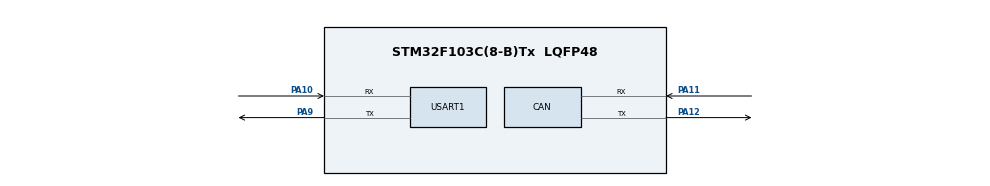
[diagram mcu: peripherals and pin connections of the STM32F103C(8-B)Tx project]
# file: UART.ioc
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CAN.CalculateTimeBit=6000
CAN.CalculateTimeQuantum=2000.0
Mcu.Family=STM32F1
Mcu.Name=STM32F103C(8-B)Tx
Mcu.Package=LQFP48
NVIC.PriorityGroup=NVIC_PRIORITYGROUP_4
PA10.Mode=Asynchronous
PA10.Signal=USART1_RX
PA11.Mode=Master
PA11.Signal=CAN_RX
PA12.Mode=Master
PA12.Signal=CAN_TX
PA9.Mode=Asynchronous
PA9.Signal=USART1_TX
ProjectManager.HeapSize=0x200
ProjectManager.StackSize=0x400
ProjectManager.TargetToolchain=MDK-ARM V5
RCC.APB1Freq_Value=8000000
RCC.APB2Freq_Value=8000000
USART1.VirtualMode=VM_ASYNC
VP_SYS_VS_ND.Mode=No_Debug
board=custom

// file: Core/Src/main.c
/* USER CODE BEGIN Header */
/**
  ******************************************************************************
  * @file           : main.c
  * @brief          : Main program body
  ******************************************************************************
  * @attention
  *
  * <h2><center>&copy; Copyright (c) 2026 STMicroelectronics.
  * All rights reserved.</center></h2>
  *
  * This software component is licensed by ST under BSD 3-Clause license,
  * the "License"; You may not use this file except in compliance with the
  * License. You may obtain a copy of the License at:
  *                        opensource.org/licenses/BSD-3-Clause
  *
  ******************************************************************************
  */
/* USER CODE END Header */
#include "main.h"
#include "can.h"
#include "usart.h"
#include "gpio.h"

/* USER CODE BEGIN Includes */
#include <string.h>
#include "flame.h"
#include "iwdg.h"
/* USER CODE END Includes */

/* USER CODE BEGIN PV */
static uint8_t g_uart1_ready = 0;

/* USER CODE END PV */

void SystemClock_Config(void);
/* USER CODE BEGIN PFP */
static void Boot_Log(const char *message);

/* USER CODE END PFP */

/* USER CODE BEGIN 0 */
static void Boot_Log(const char *message)
{
  if (g_uart1_ready == 0U || message == NULL)
  {
    return;
  }

  HAL_UART_Transmit(&huart1, (uint8_t *)message, (uint16_t)strlen(message), 100);
}

/* USER CODE END 0 */

int main(void)
{

  /* MCU Configuration--------------------------------------------------------*/

  /* Reset of all peripherals, Initializes the Flash interface and the Systick. */
  HAL_Init();

  /* Configure the system clock */
  SystemClock_Config();

  /* Initialize all configured peripherals */
  MX_GPIO_Init();
  MX_USART1_UART_Init();
  g_uart1_ready = 1U;
  Boot_Log("BOOT: HAL init done\r\n");
  Boot_Log("BOOT: system clock configured\r\n");
  Boot_Log("BOOT: GPIO ready\r\n");
  Boot_Log("BOOT: USART1 ready\r\n");
  MX_CAN_Init();
  /* USER CODE BEGIN 2 */
  if (CAN_Link_Init() != HAL_OK)
  {
    Boot_Log("BOOT: CAN link init failed\r\n");
    Error_Handler();
  }
  Boot_Log("BOOT: CAN link init ok\r\n");

  if (MX_IWDG_Init() != HAL_OK)
  {
    Boot_Log("BOOT: IWDG init failed\r\n");
    Error_Handler();
  }
  Boot_Log("BOOT: IWDG init ok (8.0s timeout)\r\n");

  /* USER CODE END 2 */

  /* Infinite loop */
  /* USER CODE BEGIN WHILE */
  while (1)
  {
    CAN_Link_Process();
    HAL_IWDG_Refresh(&hiwdg);
    HAL_Delay(10);
    /* USER CODE END WHILE */

  }
}

void SystemClock_Config(void)
{
  RCC_OscInitTypeDef RCC_OscInitStruct = {0};
  RCC_ClkInitTypeDef RCC_ClkInitStruct = {0};

  /** Initializes the RCC Oscillators according to the specified parameters
  * in the RCC_OscInitTypeDef structure.
  */
  RCC_OscInitStruct.OscillatorType = RCC_OSCILLATORTYPE_HSI;
  RCC_OscInitStruct.HSIState = RCC_HSI_ON;
  RCC_OscInitStruct.HSICalibrationValue = RCC_HSICALIBRATION_DEFAULT;
  RCC_OscInitStruct.PLL.PLLState = RCC_PLL_NONE;
  if (HAL_RCC_OscConfig(&RCC_OscInitStruct) != HAL_OK)
  {
    Error_Handler();
  }
  /** Initializes the CPU, AHB and APB buses clocks
  */
  RCC_ClkInitStruct.ClockType = RCC_CLOCKTYPE_HCLK|RCC_CLOCKTYPE_SYSCLK
                              |RCC_CLOCKTYPE_PCLK1|RCC_CLOCKTYPE_PCLK2;
  RCC_ClkInitStruct.SYSCLKSource = RCC_SYSCLKSOURCE_HSI;
  RCC_ClkInitStruct.AHBCLKDivider = RCC_SYSCLK_DIV1;
  RCC_ClkInitStruct.APB1CLKDivider = RCC_HCLK_DIV1;
  RCC_ClkInitStruct.APB2CLKDivider = RCC_HCLK_DIV1;

  if (HAL_RCC_ClockConfig(&RCC_ClkInitStruct, FLASH_LATENCY_0) != HAL_OK)
  {
    Error_Handler();
  }
}

void Error_Handler(void)
{
  /* USER CODE BEGIN Error_Handler_Debug */
  /* User can add his own implementation to report the HAL error return state */
  while (1)
  {
    Boot_Log("ERROR: handler entered\r\n");
    HAL_Delay(500);
  }

  /* USER CODE END Error_Handler_Debug */
}

/************************ (C) COPYRIGHT STMicroelectronics *****END OF FILE****/
